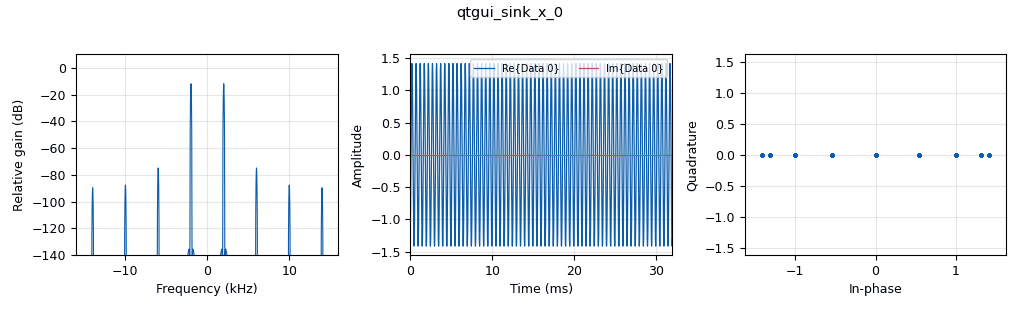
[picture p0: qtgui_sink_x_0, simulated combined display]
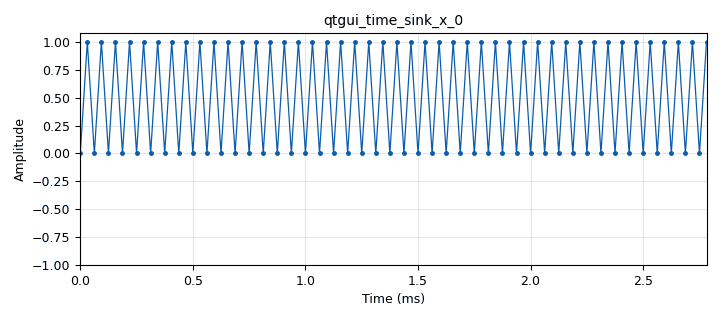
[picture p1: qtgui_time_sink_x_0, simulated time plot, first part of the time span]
options:
  parameters:
    author: dev
    generate_options: qt_gui
    id: test_idler
    output_language: python
    title: Not titled yet
  states: {}

blocks:
- name: constel
  id: variable_constellation
  parameters:
    const_points: digital.psk_2()[0]
    dims: '1'
    normalization: digital.constellation.AMPLITUDE_NORMALIZATION
    precision: '8'
    rot_sym: '2'
    soft_dec_lut: '''auto'''
    sym_map: digital.psk_2()[1]
    type: calcdist
  states: {}
- name: samp_rate
  id: variable
  parameters:
    value: 32e3
  states: {}
- name: strobe_delay
  id: variable_qtgui_range
  parameters:
    label: Strobe Delay
    rangeType: int
    start: '1'
    step: '1'
    stop: '1000'
    value: '1000'
  states: {}
- name: blocks_char_to_float_0
  id: blocks_char_to_float
  parameters:
    scale: '1'
  states: {}
- name: blocks_message_strobe_0_0
  id: blocks_message_strobe
  parameters:
    msg: pmt.intern("TEST")
    period: strobe_delay
  states: {}
- name: blocks_random_pdu_0
  id: blocks_random_pdu
  parameters:
    comment: Random Payload Data
    length_modulo: '2'
    mask: '0xFF'
    maxsize: '100'
    minsize: '100'
  states: {}
- name: blocks_throttle_0
  id: blocks_throttle
  parameters:
    samples_per_second: samp_rate
    type: byte
  states: {}
- name: blocks_unpack_k_bits_bb_0
  id: blocks_unpack_k_bits_bb
  parameters:
    k: '8'
  states: {}
- name: digital_constellation_modulator_0
  id: digital_constellation_modulator
  parameters:
    constellation: constel
    differential: 'True'
    excess_bw: '0.35'
    samples_per_symbol: '4'
  states: {}
- name: epy_block_0_1_0
  id: epy_block
  parameters:
    _source_code: "\"\"\"\nEmbedded Python Blocks:\n\nEach time this file is saved, GRC will instantiate the first class it finds\nto get ports and parameters of your block. The arguments to __init__  will\nbe the parameters. All of them are required to have default values!\n\"\"\"\n\nimport numpy as np\nimport pmt\nfrom gnuradio import gr\n\n\nclass blk(gr.sync_block):  # other base classes are basic_block, decim_block, interp_block\n    \"\"\"Embedded Python Block example - a simple multiply const\"\"\"\n\n    def __init__(self, pattern=[0x55]*10):  # only default arguments here\n        \"\"\"arguments to this function show up as parameters in GRC\"\"\"\n        gr.sync_block.__init__(\n            self,\n            name='HAS Idle Inserter',   # will show up in GRC\n            in_sig=None,\n            out_sig=[np.byte]\n        )\n        \n        self.message_port_register_in(pmt.intern('pdu'))\n        self.set_msg_handler(pmt.intern('pdu'), self.buffer_items)\n        self.set_min_output_buffer(len(pattern))\n        \n        self.buffer = []\n        \n        # if an attribute with the same name as a parameter is found,\n        # a callback is registered (properties work, too).\n        self.pattern = pattern\n\n    def work(self, input_items, output_items):\n        #print(self.pattern)\n        #output_items[0][0:len(self.pattern)] = self.pattern\n        output_items[0][:] = self.pattern\n        numItems = len(output_items[0])\n        #print(\"Output Len:\",len(output_items[0]))\n        \n        if len(self.buffer)<numItems:\n            numItems = len(self.buffer)\n        i = 0\n        #print(\"Input/Output Size:\", numItems,\"/\",len(output_items[0]))\n        while i < numItems and numItems>0:\n            #pdu = pmt.to_python(self.pdu)\n            #data = pdu[1]\n            #print(\"PDU:\",pdu)\n            #print(\"Data:\",data)\n            #framesize = len(frame)\n            \n            output_items[0][i] = self.buffer[0]\n            self.buffer.pop(0)\n            i = i+1\n            #pmt.u8vector_ref(pdu, pmt.size(pdu)) → uint8_t\n            #self.pdu = None\n        #print(\"Buffered items:\",len(self.frames))\n        \t\n        return len(output_items[0])\n\n    def buffer_items(self, msg):\n        pdu = pmt.to_python(msg)\n        items = pdu[1]\n        \n        self.buffer.extend(items)\n        print(\"Buffer Len:\",len(self.buffer))\n    \t\n"
    pattern: '[0x55]'
  states: {}
- name: qtgui_sink_x_0
  id: qtgui_sink_x
  parameters:
    bw: samp_rate
    fc: '0'
    fftsize: '1024'
    type: complex
  states: {}
- name: qtgui_time_sink_x_0
  id: qtgui_time_sink_x
  parameters:
    marker1: '0'
    size: 1024*4
    srate: samp_rate
    type: float
  states: {}

connections:
- [blocks_char_to_float_0, '0', qtgui_time_sink_x_0, '0']
- [blocks_message_strobe_0_0, strobe, blocks_random_pdu_0, generate]
- [blocks_random_pdu_0, pdus, epy_block_0_1_0, pdu]
- [blocks_throttle_0, '0', blocks_char_to_float_0, '0']
- [blocks_unpack_k_bits_bb_0, '0', blocks_throttle_0, '0']
- [digital_constellation_modulator_0, '0', qtgui_sink_x_0, '0']
- [epy_block_0_1_0, '0', blocks_unpack_k_bits_bb_0, '0']
- [epy_block_0_1_0, '0', digital_constellation_modulator_0, '0']

metadata:
  file_format: 1
